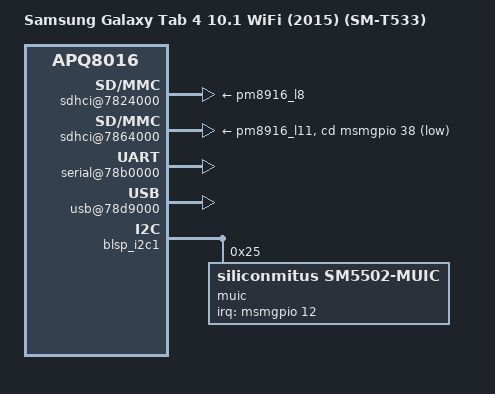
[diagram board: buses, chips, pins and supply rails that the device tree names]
// SPDX-License-Identifier: GPL-2.0-only

/dts-v1/;

#include "msm8916.dtsi"
#include "pm8916.dtsi"
#include "arm/qcom-msm8916-no-psci.dtsi"
#include <dt-bindings/gpio/gpio.h>
#include <dt-bindings/interrupt-controller/irq.h>

/ {
	model = "Samsung Galaxy Tab 4 10.1 WiFi (2015) (SM-T533)";
	compatible = "samsung,matissevewifi", "qcom,apq8016";

	aliases {
		serial0 = &blsp1_uart2;
	};

	chosen {
		stdout-path = "serial0";
	
		framebuffer@8e000000 {
			status= "disabled";
			//status= "okay";
			compatible = "simple-framebuffer";
			reg = <0x0 0x8e000000 0x0 (1280 * 800 * 3)>;
			width = <1280>;
			height = <800>;
			stride = <(1280 * 3)>;
			format = "r8g8b8";
			power-domains = <&gcc MDSS_GDSC>;
			display = <&dsi0>;
		};
		
	};

	reserved-memory {
		/* Additional memory used by Samsung firmware modifications */
		tz-apps@85500000 {
			reg = <0x0 0x85500000 0x0 0xb00000>;
			no-map;
		};
		continuous_splash: framebuffer@8e000000{
			reg = <0x0 0x8e000000 0x0 (1280 * 200 * 3)>;
			no-map;
		};
	};

	soc {
		sdhci@7824000 {
			status = "okay";

			vmmc-supply = <&pm8916_l8>;
			vqmmc-supply = <&pm8916_l5>;

			pinctrl-names = "default", "sleep";
			pinctrl-0 = <&sdc1_clk_on &sdc1_cmd_on &sdc1_data_on>;
			pinctrl-1 = <&sdc1_clk_off &sdc1_cmd_off &sdc1_data_off>;
		};

		sdhci@7864000 {
			status = "okay";

			vmmc-supply = <&pm8916_l11>;
			vqmmc-supply = <&pm8916_l12>;

			pinctrl-names = "default", "sleep";

			pinctrl-0 = <&sdc2_clk_on &sdc2_cmd_on &sdc2_data_on &sdc2_cd_on>;
			pinctrl-1 = <&sdc2_clk_off &sdc2_cmd_off &sdc2_data_off &sdc2_cd_off>;

			cd-gpios = <&msmgpio 38 GPIO_ACTIVE_LOW>;
		};

		serial@78b0000 {
			status = "okay";
			pinctrl-names = "default", "sleep";
			pinctrl-0 = <&blsp1_uart2_default>;
			pinctrl-1 = <&blsp1_uart2_sleep>;
		};

		usb@78d9000 {
			status = "okay";
			extcon = <&muic>, <&muic>;

			hnp-disable;
			srp-disable;
			adp-disable;

			ulpi {
				phy {
					extcon = <&muic>;
					v1p8-supply = <&pm8916_l7>;
					v3p3-supply = <&pm8916_l13>;
				};
			};
		};

		wcnss@a21b000 {
			status = "okay";

			iris {
				compatible = "qcom,wcn3680";
			};
		};

    /*mdss@1a00000 {
			status = "okay";

			mdp@1a01000 {
				status = "okay";
			};
			
			dsi0: dsi@1a98000 {
				#address-cells = <1>;
				#size-cells = <0>;
				
				status = "okay";
				vdda-supply = <&pm8916_l2>;
				vdd-supply = <&pm8916_l6>;
				// vddio-supply = <&pm8916_l6>;
				
				pinctrl-names = "default", "sleep";
				pinctrl-0 = <&mdss_default &lcd_en_default>;
				pinctrl-1 = <&mdss_sleep>;
				
				panel@0 {
					reg = <0>;
					
					compatible = "toshiba,tc358764";

					// extra-power-gpios = <&msmgpio 9 GPIO_ACTIVE_HIGH>;
					reset-gpios = <&msmgpio 31 GPIO_ACTIVE_HIGH>;

					port {
						panel_in: endpoint {
							remote-endpoint = <&dsi0_out>;
						};
					};
				};
				
				ports {
					port@1 {
						dsi0_out: endpoint {
							remote-endpoint = <&panel_in>;
							data-lanes = <0 1 2 3>;
						};
					};
				};
			};

			dsi-phy@1a98300 {
				status = "okay";

				vddio-supply = <&pm8916_l6>;
			};
		};*/
	
		/*
		 * Attempting to enable these devices causes a "synchronous
		 * external abort". Suspected cause is that the debug power
		 * domain is not enabled by default on this device.
		 * Disable these devices for now to avoid the crash.
		 *
		 * See: https://lore.kernel.org/linux-arm-msm/20190618202623.GA53651@gerhold.net/
		 */
		tpiu@820000 { status = "disabled"; };
		funnel@821000 { status = "disabled"; };
		replicator@824000 { status = "disabled"; };
		etf@825000 { status = "disabled"; };
		etr@826000 { status = "disabled"; };
		funnel@841000 { status = "disabled"; };
		debug@850000 { status = "disabled"; };
		debug@852000 { status = "disabled"; };
		debug@854000 { status = "disabled"; };
		debug@856000 { status = "disabled"; };
		etm@85c000 { status = "disabled"; };
		etm@85d000 { status = "disabled"; };
		etm@85e000 { status = "disabled"; };
		etm@85f000 { status = "disabled"; };

		/*reg_lcd_vmipi: regulator-lcd-vmipi {
			compatible = "regulator-fixed";
			regulator-name = "lcd_vmipi";
			regulator-min-microvolt = <1800000>;
			regulator-max-microvolt = <1800000>;

			gpio = <&msmgpio 8 0>;
			enable-active-high;

			pinctrl-names = "default";
			pinctrl-0 = <&lcd_en_default>;
		};

		reg_vlcd_5p4v: regulator-vlcd-5p4v {
			compatible = "regulator-fixed";
			regulator-name = "vlcd_5p4v";
			regulator-min-microvolt = <5400000>;
			regulator-max-microvolt = <5400000>;

			gpio = <&msmgpio 51 0>;
			enable-active-high;

			pinctrl-names = "default";
			pinctrl-0 = <&buckbooster_en_default>;
		};*/
	};
};

&blsp_i2c1 {
	status = "okay";

	muic: muic@25 {
		compatible = "siliconmitus,sm5502-muic";

		reg = <0x25>;
		interrupt-parent = <&msmgpio>;
		interrupts = <12 IRQ_TYPE_EDGE_FALLING>;

		pinctrl-names = "default";
		pinctrl-0 = <&muic_int_default>;
	};
};

&smd_rpm_regulators {
	vdd_l1_l2_l3-supply = <&pm8916_s3>;
	vdd_l4_l5_l6-supply = <&pm8916_s4>;
	vdd_l7-supply = <&pm8916_s4>;

	s1 {
		regulator-min-microvolt = <500000>;
		regulator-max-microvolt = <1300000>;
	};

	s3 {
		regulator-min-microvolt = <1200000>;
		regulator-max-microvolt = <1300000>;
	};

	s4 {
		regulator-min-microvolt = <1800000>;
		regulator-max-microvolt = <2100000>;
	};

	l1 {
		regulator-min-microvolt = <1225000>;
		regulator-max-microvolt = <1225000>;
	};

	l2 {
		regulator-min-microvolt = <1200000>;
		regulator-max-microvolt = <1200000>;
	};

	l3 {
		regulator-min-microvolt = <500000>;
		regulator-max-microvolt = <1287500>;
	};

	l4 {
		regulator-min-microvolt = <2050000>;
		regulator-max-microvolt = <2050000>;
	};

	l5 {
		regulator-min-microvolt = <1800000>;
		regulator-max-microvolt = <1800000>;
	};

	l6 {
		regulator-min-microvolt = <1800000>;
		regulator-max-microvolt = <1800000>;
	};

	l7 {
		regulator-min-microvolt = <1800000>;
		regulator-max-microvolt = <1800000>;
	};

	l8 {
		regulator-min-microvolt = <2850000>;
		regulator-max-microvolt = <2900000>;
	};

	l9 {
		regulator-min-microvolt = <3300000>;
		regulator-max-microvolt = <3300000>;
	};

	l10 {
		regulator-min-microvolt = <2700000>;
		regulator-max-microvolt = <2800000>;
	};

	l11 {
		regulator-min-microvolt = <1800000>;
		regulator-max-microvolt = <2950000>;
		regulator-allow-set-load;
		regulator-system-load = <200000>;
	};

	l12 {
		regulator-min-microvolt = <1800000>;
		regulator-max-microvolt = <2950000>;
	};

	l13 {
		regulator-min-microvolt = <3075000>;
		regulator-max-microvolt = <3075000>;
	};

	l14 {
		regulator-min-microvolt = <1800000>;
		regulator-max-microvolt = <3300000>;
	};

	l15 {
		regulator-min-microvolt = <1800000>;
		regulator-max-microvolt = <3300000>;
	};

	l16 {
		regulator-min-microvolt = <1800000>;
		regulator-max-microvolt = <3300000>;
	};

	l17 {
		regulator-min-microvolt = <2850000>;
		regulator-max-microvolt = <2850000>;
	};

	l18 {
		regulator-min-microvolt = <2700000>;
		regulator-max-microvolt = <2700000>;
	};
};

&msmgpio {
	muic_int_default: muic_int_default {
		pinmux {
			function = "gpio";
			pins = "gpio12";
		};
		pinconf {
			pins = "gpio12";
			drive-strength = <2>;
			bias-disable;
		};
	};

	/*lcd_en_default: lcd_en_default {
		pinmux {
			function = "gpio";
			pins = "gpio56";
		};
		pinconf {
			pins = "gpio56";
			drive-strength = <2>;
			bias-disable;
		};
	};

	pmx_mdss {
		mdss_default: mdss_default {
			pinmux {
				function = "gpio";
				pins = "gpio8";
			};
			pinconf {
				pins = "gpio8";
				drive-strength = <8>;
				bias-disable;
			};
		};

		mdss_sleep: mdss_sleep {
			pinmux {
				function = "gpio";
				pins = "gpio8";
			};
			pinconf {
				pins = "gpioi8";
				drive-strength = <2>;
				bias-pull-down;
			};
		};
	}; */
};
